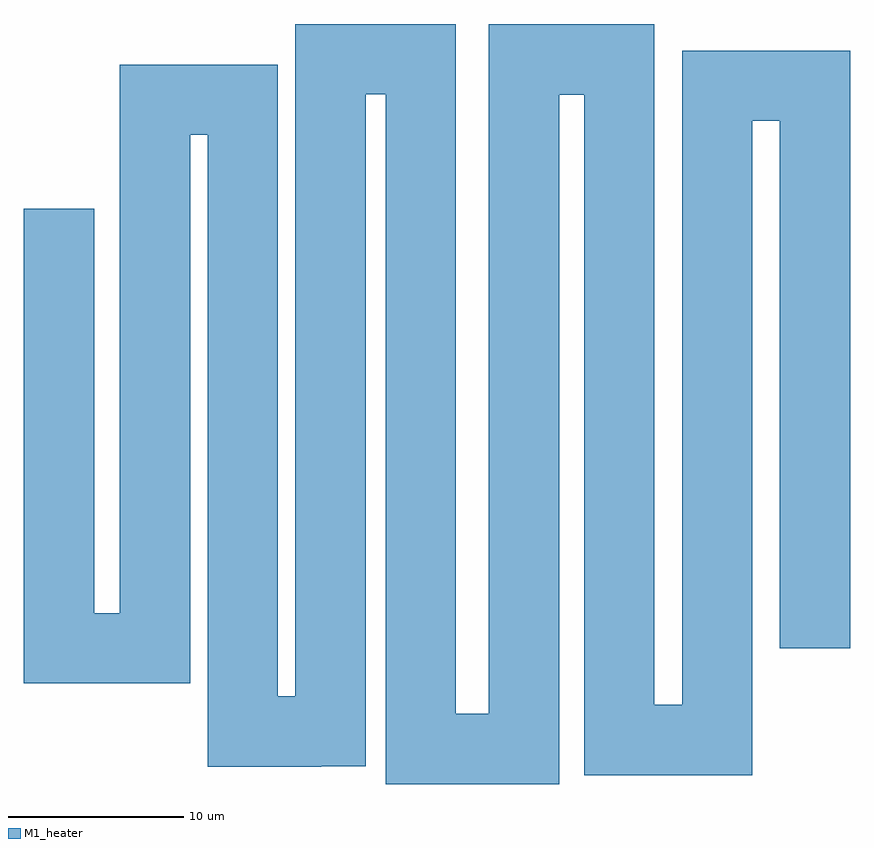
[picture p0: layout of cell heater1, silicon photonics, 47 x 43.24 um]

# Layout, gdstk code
import gdstk
lib = gdstk.Library(unit=1e-6, precision=1e-09)
M1_heater = (11, 0)

heater1 = lib.new_cell('heater1')
heater1.add(gdstk.FlexPath([(39.448,36.278),(39.448,2.498),(33.87,2.498),(33.87,41.214),(28.448,41.214),(28.448,2),(22.579,2),(22.579,41.241),(17.448,41.241),(17.448,1.022)], 4, ends="flush", simple_path=True, layer=11, datatype=0))  # M1_heater
heater1.add(gdstk.FlexPath([(16.911,2.982),(12.448,2.982),(12.448,40.91)], 4, ends="flush", simple_path=True, layer=11, datatype=0))  # M1_heater
heater1.add(gdstk.FlexPath([(12.448,38.926),(7.448,38.926),(7.448,5.744)], 4, ends="flush", simple_path=True, layer=11, datatype=0))  # M1_heater
heater1.add(gdstk.FlexPath([(39.448,36.278),(39.448,39.726),(45,39.726),(45,7.726)], 4, ends="flush", simple_path=True, layer=11, datatype=0))  # M1_heater
heater1.add(gdstk.FlexPath([(7.448,5.744),(7.448,7.726),(2,7.726),(2,32.726)], 4, ends="flush", simple_path=True, layer=11, datatype=0))  # M1_heater

lib.write_gds('heater1.gds')
